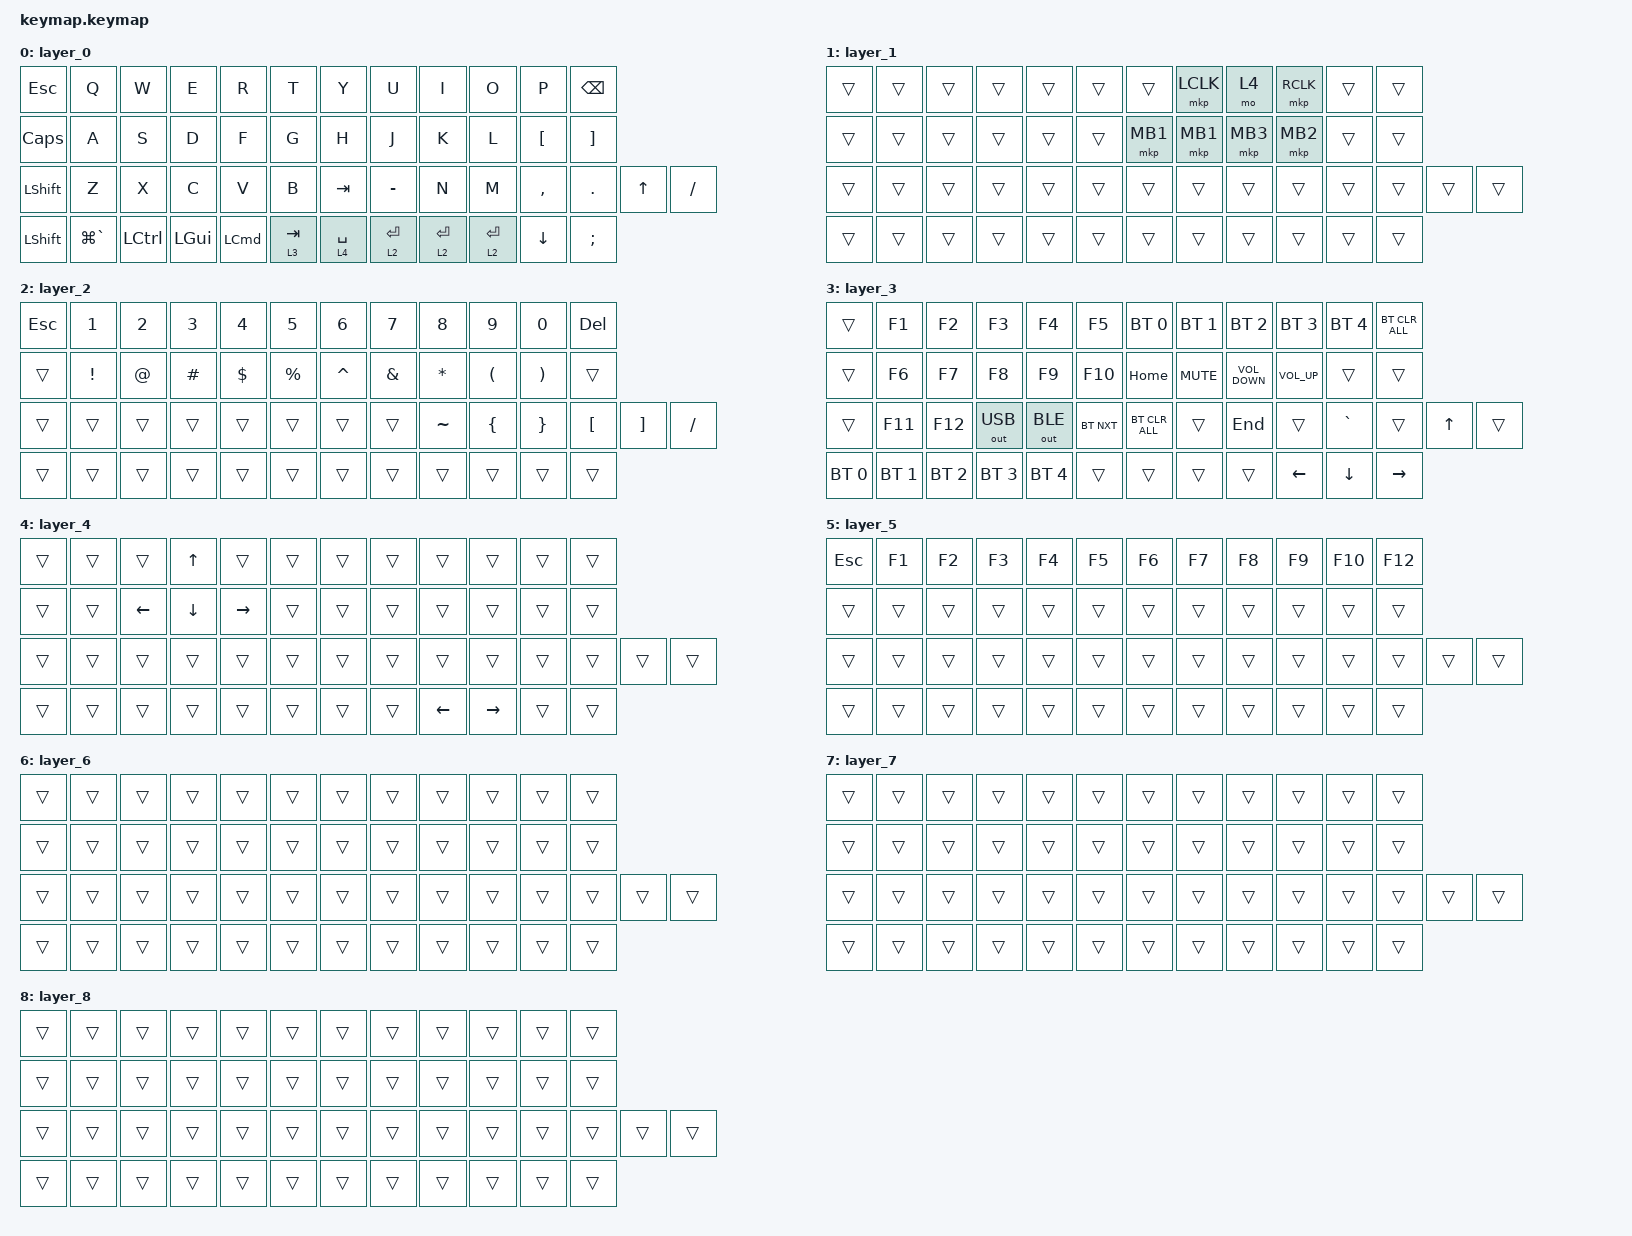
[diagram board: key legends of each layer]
#include <behaviors.dtsi>
#include <dt-bindings/zmk/bt.h>
#include <dt-bindings/zmk/keys.h>
#include <dt-bindings/zmk/outputs.h>
#include <dt-bindings/zmk/pointing.h>

/ {
    combos {
        compatible = "zmk,combos";

        bt_clear {
            bindings = <&bt BT_CLR>;
            key-positions = <28 29>;
            layers = <2>;
        };
    };

    keymap {
        compatible = "zmk,keymap";

        layer_0 {
            bindings = <
&kp ESC         &kp Q          &kp W             &kp E         &kp R             &kp T      &kp Y        &kp U        &kp I        &kp O        &kp P             &kp BSPC
&kp CAPS        &kp A          &kp S             &kp D         &kp F             &kp G      &kp H        &kp J        &kp K        &kp L        &kp LEFT_BRACKET  &kp RIGHT_BRACKET
&kp LSHFT       &kp Z          &kp X             &kp C         &kp V             &kp B      &kp TAB      &kp MINUS    &kp N        &kp M        &kp COMMA         &kp DOT            &kp UP_ARROW  &kp SLASH
&kp LEFT_SHIFT  &kp LG(GRAVE)  &kp LEFT_CONTROL  &kp LEFT_GUI  &kp LEFT_COMMAND  &lt 3 TAB  &lt 4 SPACE  &lt 2 ENTER  &lt 2 ENTER  &lt 2 ENTER  &kp DOWN_ARROW    &kp SEMICOLON
            >;
        };

        layer_1 {
            bindings = <
&trans  &trans  &trans  &trans  &trans  &trans  &trans    &mkp LCLK  &mo 4     &mkp RCLK  &trans  &trans
&trans  &trans  &trans  &trans  &trans  &trans  &mkp MB1  &mkp MB1   &mkp MB3  &mkp MB2   &trans  &trans
&trans  &trans  &trans  &trans  &trans  &trans  &trans    &trans     &trans    &trans     &trans  &trans  &trans  &trans
&trans  &trans  &trans  &trans  &trans  &trans  &trans    &trans     &trans    &trans     &trans  &trans
            >;
        };

        layer_2 {
            bindings = <
&kp ESCAPE  &kp N1    &kp N2  &kp N3    &kp N4      &kp N5     &kp N6     &kp N7         &kp N8     &kp N9                &kp N0                 &kp DELETE
&trans      &kp EXCL  &kp AT  &kp HASH  &kp DOLLAR  &kp PRCNT  &kp CARET  &kp AMPERSAND  &kp ASTRK  &kp LEFT_PARENTHESIS  &kp RIGHT_PARENTHESIS  &trans
&trans      &trans    &trans  &trans    &trans      &trans     &trans     &trans         &kp TILDE  &kp LEFT_BRACE        &kp RIGHT_BRACE        &kp LEFT_BRACKET  &kp RIGHT_BRACKET  &kp SLASH
&trans      &trans    &trans  &trans    &trans      &trans     &trans     &trans         &trans     &trans                &trans                 &trans
            >;
        };

        layer_3 {
            bindings = <
&trans        &kp F1        &kp F2        &kp F3        &kp F4        &kp F5      &bt BT_SEL 0    &bt BT_SEL 1  &bt BT_SEL 2       &bt BT_SEL 3     &bt BT_SEL 4    &bt BT_CLR_ALL
&trans        &kp F6        &kp F7        &kp F8        &kp F9        &kp F10     &kp HOME        &kp K_MUTE    &kp C_VOLUME_DOWN  &kp C_VOLUME_UP  &trans          &trans
&trans        &kp F11       &kp F12       &out OUT_USB  &out OUT_BLE  &bt BT_NXT  &bt BT_CLR_ALL  &trans        &kp END            &trans           &kp GRAVE       &trans           &kp UP_ARROW  &trans
&bt BT_SEL 0  &bt BT_SEL 1  &bt BT_SEL 2  &bt BT_SEL 3  &bt BT_SEL 4  &trans      &trans          &trans        &trans             &kp LEFT_ARROW   &kp DOWN_ARROW  &kp RIGHT_ARROW
            >;
        };

        layer_4 {
            bindings = <
&trans  &trans  &trans          &kp UP_ARROW    &trans           &trans  &trans  &trans  &trans          &trans           &trans  &trans
&trans  &trans  &kp LEFT_ARROW  &kp DOWN_ARROW  &kp RIGHT_ARROW  &trans  &trans  &trans  &trans          &trans           &trans  &trans
&trans  &trans  &trans          &trans          &trans           &trans  &trans  &trans  &trans          &trans           &trans  &trans  &trans  &trans
&trans  &trans  &trans          &trans          &trans           &trans  &trans  &trans  &kp LEFT_ARROW  &kp RIGHT_ARROW  &trans  &trans
            >;
        };

        layer_5 {
            bindings = <
&kp ESC  &kp F1  &kp F2  &kp F3  &kp F4  &kp F5  &kp F6  &kp F7  &kp F8  &kp F9  &kp F10  &kp F12
&trans   &trans  &trans  &trans  &trans  &trans  &trans  &trans  &trans  &trans  &trans   &trans
&trans   &trans  &trans  &trans  &trans  &trans  &trans  &trans  &trans  &trans  &trans   &trans   &trans  &trans
&trans   &trans  &trans  &trans  &trans  &trans  &trans  &trans  &trans  &trans  &trans   &trans
            >;
        };

        layer_6 {
            bindings = <
&trans  &trans  &trans  &trans  &trans  &trans  &trans  &trans  &trans  &trans  &trans  &trans
&trans  &trans  &trans  &trans  &trans  &trans  &trans  &trans  &trans  &trans  &trans  &trans
&trans  &trans  &trans  &trans  &trans  &trans  &trans  &trans  &trans  &trans  &trans  &trans  &trans  &trans
&trans  &trans  &trans  &trans  &trans  &trans  &trans  &trans  &trans  &trans  &trans  &trans
            >;
        };

        layer_7 {
            bindings = <
&trans  &trans  &trans  &trans  &trans  &trans  &trans  &trans  &trans  &trans  &trans  &trans
&trans  &trans  &trans  &trans  &trans  &trans  &trans  &trans  &trans  &trans  &trans  &trans
&trans  &trans  &trans  &trans  &trans  &trans  &trans  &trans  &trans  &trans  &trans  &trans  &trans  &trans
&trans  &trans  &trans  &trans  &trans  &trans  &trans  &trans  &trans  &trans  &trans  &trans
            >;
        };

        layer_8 {
            bindings = <
&trans  &trans  &trans  &trans  &trans  &trans  &trans  &trans  &trans  &trans  &trans  &trans
&trans  &trans  &trans  &trans  &trans  &trans  &trans  &trans  &trans  &trans  &trans  &trans
&trans  &trans  &trans  &trans  &trans  &trans  &trans  &trans  &trans  &trans  &trans  &trans  &trans  &trans
&trans  &trans  &trans  &trans  &trans  &trans  &trans  &trans  &trans  &trans  &trans  &trans
            >;
        };
    };
};
